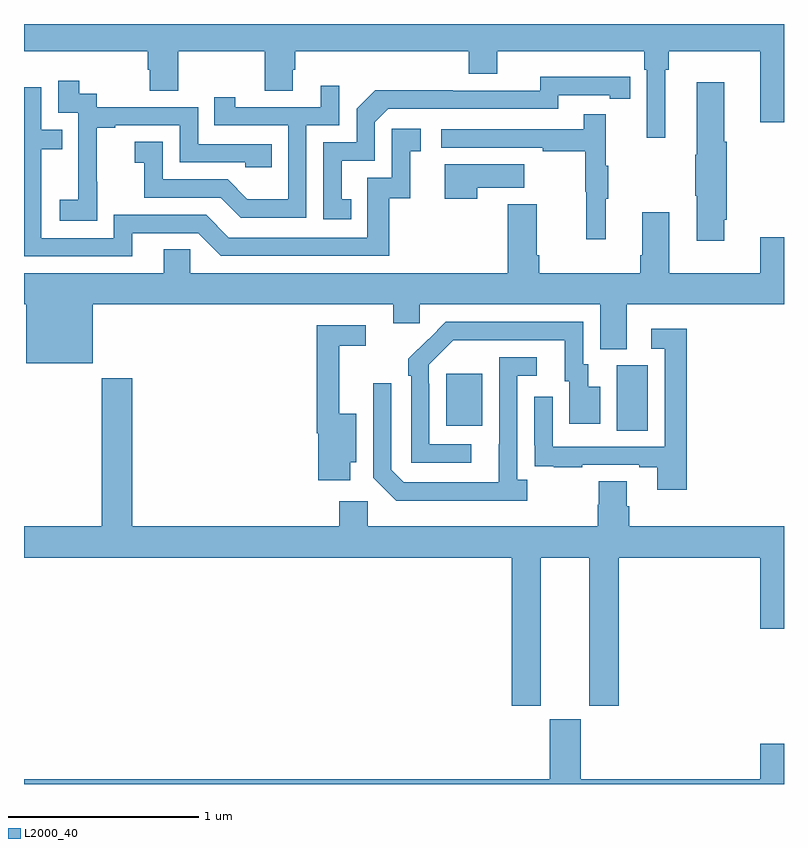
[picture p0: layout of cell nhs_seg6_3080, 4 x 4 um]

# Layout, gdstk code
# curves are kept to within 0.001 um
import gdstk
lib = gdstk.Library(unit=1e-6, precision=1e-09)
def R(c, l, rs):  # rectangles x0, y0, x1, y1
    for r in rs: c.add(gdstk.rectangle(r[:2], r[2:], *l))
def P(c, l, *ps):  # polygons
    for p in ps: c.add(gdstk.Polygon(p, *l))
L2000_40 = (2000, 40)

nhs_seg6_3080 = lib.new_cell('nhs_seg6_3080')
R(nhs_seg6_3080, L2000_40, [(296.12,925.36,296.284,925.704), (295.223,925.385,295.411,925.66)])
P(nhs_seg6_3080, L2000_40, [(296.374,927.26),(296.393,927.26),(296.393,927.356),(296.876,927.356),(296.876,926.982),(297,926.982),(297,927.5),(293,927.5),(293,927.356),(293.651,927.356),(293.651,927.258),(293.663,927.258),(293.663,927.148),(293.811,927.148),(293.811,927.356),(294.268,927.356),(294.268,927.148),(294.415,927.148),(294.415,927.258),(294.428,927.258),(294.428,927.356),(295.34,927.356),(295.34,927.239),(295.492,927.239),(295.492,927.356),(296.264,927.356),(296.264,927.26),(296.277,927.26),(296.277,926.901),(296.374,926.901)],
  [(294.722,926.577),(294.673,926.577),(294.673,926.781),(294.846,926.781),(294.846,926.982),(294.918,927.054),(295.812,927.054),(295.812,927.126),(296.084,927.126),(296.084,927.106),(296.192,927.106),(296.192,927.222),(295.716,927.223),(295.716,927.15),(295.256,927.15),(295.256,927.152),(294.848,927.152),(294.75,927.054),(294.75,926.877),(294.576,926.877),(294.576,926.472),(294.722,926.472)],
  [(293.385,926.671),(293.384,926.671),(293.384,926.955),(293.479,926.955),(293.479,926.967),(293.82,926.967),(293.82,926.772),(294.165,926.772),(294.165,926.745),(294.305,926.745),(294.305,926.868),(293.916,926.868),(293.916,927.063),(293.382,927.063),(293.382,927.132),(293.29,927.132),(293.29,927.202),(293.181,927.202),(293.181,927.033),(293.286,927.033),(293.286,926.804),(293.285,926.804),(293.285,926.575),(293.187,926.575),(293.187,926.465),(293.385,926.465)],
  [(296.686,926.47),(296.699,926.47),(296.699,926.88),(296.686,926.88),(296.686,927.193),(296.54,927.193),(296.54,926.813),(296.533,926.813),(296.533,926.596),(296.54,926.596),(296.54,926.358),(296.686,926.358)],
  [(294.486,926.967),(294.66,926.967),(294.66,927.175),(294.563,927.175),(294.563,927.063),(294.112,927.063),(294.112,927.115),(294.001,927.115),(294.001,926.967),(294.39,926.967),(294.39,926.578),(294.176,926.578),(294.072,926.682),(293.73,926.682),(293.73,926.881),(293.583,926.881),(293.583,926.771),(293.632,926.771),(293.632,926.586),(294.035,926.586),(294.14,926.481),(294.486,926.481)],
  [(293.569,926.4),(293.916,926.4),(294.036,926.28),(294.923,926.28),(294.923,926.583),(295.034,926.583),(295.034,926.829),(295.087,926.829),(295.087,926.95),(294.936,926.95),(294.936,926.691),(294.807,926.691),(294.807,926.376),(294.078,926.376),(293.958,926.496),(293.472,926.496),(293.472,926.373),(293.091,926.373),(293.091,926.842),(293.201,926.842),(293.201,926.943),(293.091,926.943),(293.091,927.168),(293,927.168),(293,926.277),(293.569,926.277)],
  [(296.063,926.579),(296.074,926.579),(296.074,926.753),(296.063,926.753),(296.063,927.025),(295.945,927.025),(295.945,926.946),(295.197,926.946),(295.197,926.85),(295.729,926.85),(295.729,926.83),(295.953,926.83),(295.953,926.616),(295.96,926.616),(295.96,926.367),(296.063,926.367)],
  [(295.385,926.639),(295.633,926.639),(295.633,926.761),(295.214,926.761),(295.214,926.58),(295.385,926.58)],
  [(295.712,926.284),(295.699,926.284),(295.699,926.551),(295.547,926.551),(295.547,926.188),(293.874,926.188),(293.874,926.315),(293.735,926.315),(293.735,926.188),(293,926.188),(293,926.024),(293.012,926.024),(293.012,925.715),(293.362,925.715),(293.362,926.024),(294.944,926.024),(294.944,925.926),(295.083,925.926),(295.083,926.024),(296.033,926.024),(296.033,925.789),(296.173,925.789),(296.173,926.024),(297,926.024),(297,926.377),(296.876,926.377),(296.876,926.188),(296.395,926.188),(296.395,926.509),(296.255,926.509),(296.255,926.284),(296.243,926.284),(296.243,926.188),(295.712,926.188)],
  [(295.354,925.287),(295.134,925.287),(295.134,925.607),(295.131,925.607),(295.131,925.707),(295.26,925.836),(295.847,925.836),(295.847,925.62),(295.871,925.62),(295.871,925.395),(296.032,925.395),(296.032,925.591),(295.969,925.591),(295.969,925.71),(295.944,925.71),(295.944,925.932),(295.22,925.932),(295.023,925.737),(295.023,925.649),(295.038,925.649),(295.038,925.191),(295.354,925.191)],
  [(294.718,925.193),(294.748,925.193),(294.748,925.45),(294.659,925.45),(294.659,925.806),(294.799,925.806),(294.799,925.914),(294.541,925.914),(294.541,925.346),(294.548,925.346),(294.548,925.098),(294.718,925.098)],
  [(296.489,925.897),(296.301,925.897),(296.301,925.791),(296.373,925.791),(296.373,925.275),(295.782,925.275),(295.782,925.537),(295.686,925.537),(295.686,925.282),(295.687,925.282),(295.687,925.173),(295.789,925.173),(295.789,925.167),(295.937,925.167),(295.937,925.179),(296.237,925.179),(296.237,925.167),(296.333,925.167),(296.333,925.05),(296.489,925.05)],
  [(295.648,925.102),(295.596,925.102),(295.596,925.65),(295.699,925.65),(295.699,925.746),(295.5,925.746),(295.499,925.089),(294.999,925.089),(294.933,925.155),(294.933,925.609),(294.837,925.609),(294.837,925.113),(294.958,924.992),(295.648,924.992)],
  [(295.72,924.692),(295.976,924.692),(295.976,923.913),(296.129,923.913),(296.129,924.692),(296.876,924.692),(296.876,924.318),(297,924.318),(297,924.856),(296.186,924.856),(296.186,924.962),(296.173,924.962),(296.173,925.094),(296.026,925.094),(296.026,924.969),(296.021,924.969),(296.021,924.856),(294.81,924.856),(294.81,924.988),(294.659,924.988),(294.659,924.856),(293.57,924.856),(293.57,925.636),(293.41,925.636),(293.41,924.856),(293,924.856),(293,924.692),(295.568,924.692),(295.568,923.913),(295.72,923.913)],
  [(297,923.713),(296.876,923.713),(296.876,923.524),(295.93,923.524),(295.93,923.841),(295.766,923.841),(295.766,923.524),(293,923.524),(293,923.5),(297,923.5)])

lib.write_gds('nhs_seg6_3080.gds')
